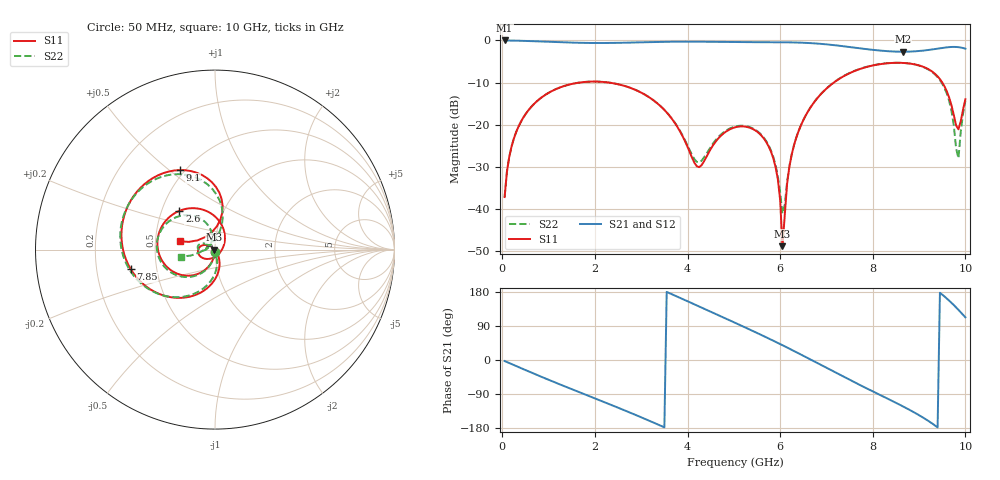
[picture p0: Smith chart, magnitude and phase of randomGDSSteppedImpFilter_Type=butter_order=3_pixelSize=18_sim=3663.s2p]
! freq	dB(S11)	phase(S11)	dB(S12)	phase(S12)
!  dB(S21)	phase(S21)	dB(S22)	phase(S22)
!S-par simulation data
#  GHz  S  DB  R 50
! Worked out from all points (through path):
!   200 points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, 50 MHz to 10 GHz, reference 50 ohm
!   highest |S21| = 0.00 dB at 50 MHz (marker M1); lowest = -2.7 dB at 8.65 GHz (marker M2)
!   group delay of S21, straight-line fit = 160 ps
!   lowest |S11| = -48.8 dB at 6.05 GHz (marker M3), VSWR 1.01, Z = 49.6 - j0.0439 ohm
!   |S11| at or under -10 dB: start of sweep to 1.658 GHz; 2.31 GHz to 7.156 GHz (4.846 GHz wide, 102 % of centre); 9.502 GHz to end of sweep
!   |S22| runs from -41.0 to -5.3 dB; largest |S21 - S12| = 0
!   S11 on the Smith chart (normalised r, x): 50 MHz: 1.00, -0.03; 2.6 GHz: 0.62, +0.29; 7.85 GHz: 0.35, -0.10; 9.1 GHz: 0.47, +0.54; 10 GHz: 0.67, +0.06
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0.05  -37.13 -92.6  -0.00 -2.7  -0.00 -2.7  -37.11 -92.5
0.2  -25.14 -101.3  -0.03 -10.7  -0.03 -10.7  -25.14 -100.6
0.5  -17.51 -117.8  -0.11 -26.5  -0.11 -26.5  -17.51 -116.2
1.75  -9.88 177.0  -0.58 -89.2  -0.58 -89.2  -9.87 -176.5
2.6  -10.66 132.6  -0.55 -130.8  -0.55 -130.8  -10.65 144.9
3.4  -15.41 84.8  -0.35 -172.3  -0.35 -172.3  -15.39 110.9
4.25  -30.03 -46.5  -0.30 141.3  -0.30 141.3  -28.91 149.5
5.05  -20.53 -162.5  -0.39 96.9  -0.39 96.9  -20.35 175.6
5.8  -26.31 149.2  -0.42 54.0  -0.42 54.0  -26.03 145.7
5.95  -32.91 141.5  -0.43 45.1  -0.43 45.1  -32.15 147.4
6  -37.81 141.2  -0.43 42.1  -0.43 42.1  -36.07 156.9
6.05  -48.77 -173.0  -0.43 39.1  -0.43 39.1  -41.04 -166.8
6.15  -33.96 -59.1  -0.45 33.0  -0.45 33.0  -33.54 -84.9
6.25  -27.03 -63.4  -0.46 26.8  -0.46 26.8  -26.97 -78.4
6.7  -15.16 -92.0  -0.66 -1.6  -0.66 -1.6  -15.13 -97.5
7.85  -6.34 -167.0  -2.05 -73.8  -2.05 -73.8  -6.30 -165.0
8.35  -5.38 162.1  -2.57 -103.8  -2.57 -103.8  -5.36 166.3
8.65  -5.33 143.5  -2.67 -122.3  -2.67 -122.3  -5.33 148.6
9.1  -6.29 113.9  -2.40 -153.0  -2.40 -153.0  -6.35 119.6
9.6  -12.09 80.2  -1.63 162.1  -1.63 162.1  -12.64 80.3
9.85  -21.07 127.8  -1.59 132.4  -1.59 132.4  -27.93 157.6
10  -13.92 166.8  -1.96 112.6  -1.96 112.6  -14.29 -168.2
